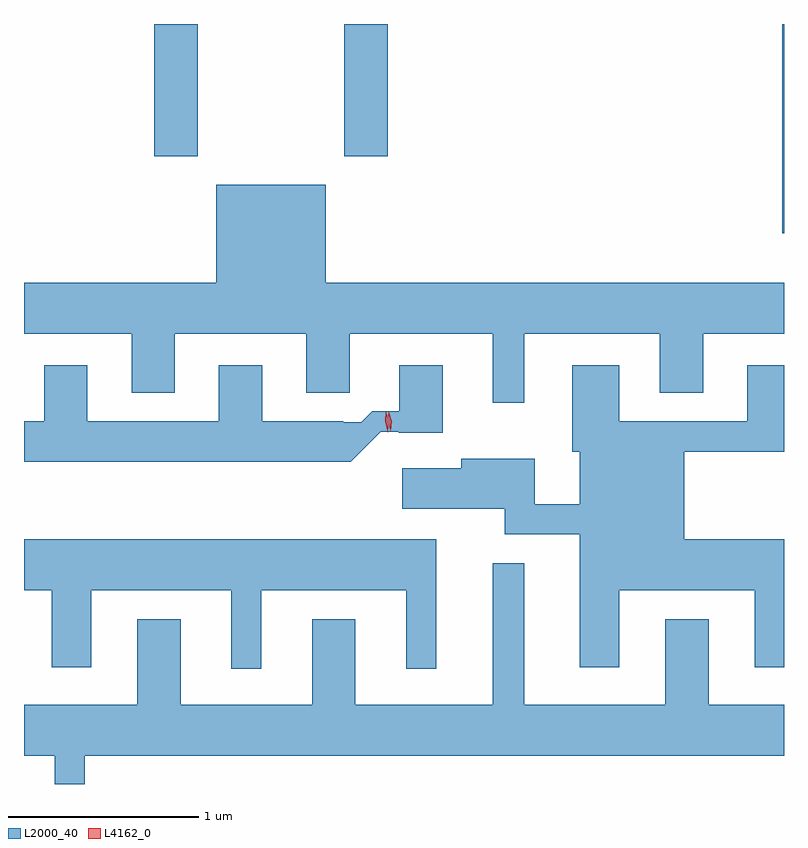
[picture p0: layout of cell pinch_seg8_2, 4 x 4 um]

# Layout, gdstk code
import gdstk
lib = gdstk.Library(unit=1e-6, precision=1e-09)
def R(c, l, rs):  # rectangles x0, y0, x1, y1
    for r in rs: c.add(gdstk.rectangle(r[:2], r[2:], *l))
def P(c, l, *ps):  # polygons
    for p in ps: c.add(gdstk.Polygon(p, *l))
L2000_40 = (2000, 40)
L4162_0 = (4162, 0)

pinch_seg8_2 = lib.new_cell('pinch_seg8_2')
R(pinch_seg8_2, L2000_40, [(1079.636,1885.786,1079.645,1886.886), (1076.331,1886.191,1076.559,1886.886), (1077.331,1886.191,1077.559,1886.886)])
P(pinch_seg8_2, L2000_40, [(1078.279,1885.256),(1078.991,1885.256),(1078.991,1884.946),(1079.219,1884.946),(1079.219,1885.256),(1079.645,1885.256),(1079.645,1885.524),(1077.234,1885.524),(1077.234,1886.039),(1076.656,1886.039),(1076.656,1885.524),(1075.645,1885.524),(1075.645,1885.256),(1076.211,1885.256),(1076.211,1884.946),(1076.439,1884.946),(1076.439,1885.256),(1077.131,1885.256),(1077.131,1884.946),(1077.359,1884.946),(1077.359,1885.256),(1078.111,1885.256),(1078.111,1884.893),(1078.279,1884.893)],
  [(1077.523,1884.74),(1077.617,1884.74),(1077.617,1884.736),(1077.849,1884.736),(1077.849,1885.089),(1077.621,1885.089),(1077.621,1884.848),(1077.478,1884.848),(1077.42,1884.79),(1077.325,1884.79),(1077.325,1884.794),(1076.899,1884.794),(1076.899,1885.089),(1076.671,1885.089),(1076.671,1884.794),(1075.979,1884.794),(1075.979,1885.089),(1075.751,1885.089),(1075.751,1884.794),(1075.645,1884.794),(1075.645,1884.581),(1077.364,1884.581)],
  [(1078.779,1883.906),(1079.491,1883.906),(1079.491,1883.501),(1079.645,1883.501),(1079.645,1884.174),(1079.119,1884.174),(1079.119,1884.636),(1079.645,1884.636),(1079.645,1885.089),(1079.451,1885.089),(1079.451,1884.794),(1078.779,1884.794),(1078.779,1885.089),(1078.531,1885.089),(1078.531,1884.636),(1078.571,1884.636),(1078.571,1884.359),(1078.334,1884.359),(1078.334,1884.599),(1077.946,1884.599),(1077.946,1884.549),(1077.636,1884.549),(1077.636,1884.336),(1078.176,1884.336),(1078.176,1884.201),(1078.571,1884.201),(1078.571,1883.501),(1078.779,1883.501)],
  [(1076.894,1883.906),(1077.656,1883.906),(1077.656,1883.493),(1077.814,1883.493),(1077.814,1884.174),(1075.645,1884.174),(1075.645,1883.906),(1075.791,1883.906),(1075.791,1883.501),(1075.999,1883.501),(1075.999,1883.906),(1076.736,1883.906),(1076.736,1883.493),(1076.894,1883.493)],
  [(1075.964,1883.036),(1079.645,1883.036),(1079.645,1883.304),(1079.249,1883.304),(1079.249,1883.754),(1079.021,1883.754),(1079.021,1883.304),(1078.279,1883.304),(1078.279,1884.048),(1078.111,1884.048),(1078.111,1883.304),(1077.389,1883.304),(1077.389,1883.754),(1077.161,1883.754),(1077.161,1883.304),(1076.469,1883.304),(1076.469,1883.754),(1076.241,1883.754),(1076.241,1883.304),(1075.645,1883.304),(1075.645,1883.036),(1075.806,1883.036),(1075.806,1882.886),(1075.964,1882.886)])
P(pinch_seg8_2, L4162_0, [(1077.56,1884.738),(1077.56,1884.739),(1077.545,1884.792),(1077.549,1884.847),(1077.549,1884.848),(1077.55,1884.847),(1077.564,1884.794),(1077.56,1884.739)],
  [(1077.574,1884.745),(1077.56,1884.794),(1077.565,1884.844),(1077.565,1884.844),(1077.566,1884.844),(1077.58,1884.795),(1077.575,1884.745),(1077.575,1884.745)])

lib.write_gds('pinch_seg8_2.gds')
